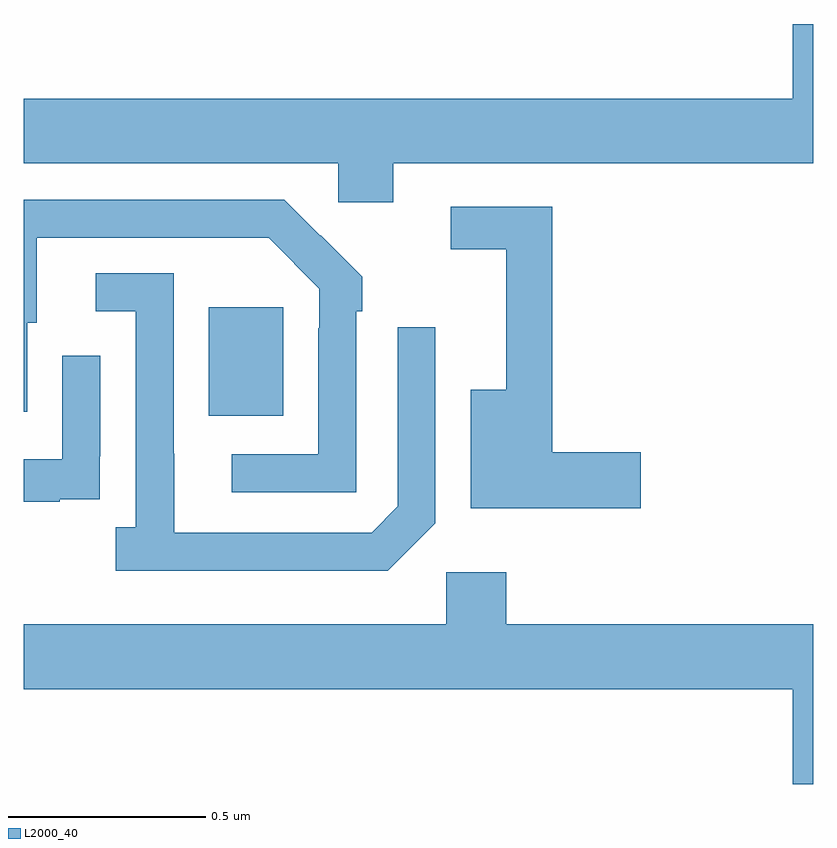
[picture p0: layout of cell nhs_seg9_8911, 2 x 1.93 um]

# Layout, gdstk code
import gdstk
lib = gdstk.Library(unit=1e-6, precision=1e-09)
def R(c, l, rs):  # rectangles x0, y0, x1, y1
    for r in rs: c.add(gdstk.rectangle(r[:2], r[2:], *l))
def P(c, l, *ps):  # polygons
    for p in ps: c.add(gdstk.Polygon(p, *l))
L2000_40 = (2000, 40)

nhs_seg9_8911 = lib.new_cell('nhs_seg9_8911')
R(nhs_seg9_8911, L2000_40, [(223.469,1210.433,223.657,1210.708)])
P(nhs_seg9_8911, L2000_40, [(223.936,1211.072),(225,1211.072),(225,1211.425),(224.948,1211.425),(224.948,1211.236),(223,1211.236),(223,1211.072),(223.797,1211.072),(223.797,1210.974),(223.936,1210.974)],
  [(223.842,1210.697),(223.857,1210.697),(223.857,1210.785),(223.752,1210.89),(223.751,1210.889),(223.66,1210.98),(223,1210.98),(223,1210.443),(223.009,1210.443),(223.009,1210.668),(223.033,1210.668),(223.033,1210.884),(223.621,1210.884),(223.749,1210.755),(223.749,1210.655),(223.746,1210.655),(223.746,1210.335),(223.527,1210.335),(223.527,1210.239),(223.842,1210.239)],
  [(224.563,1210.34),(224.339,1210.34),(224.339,1210.962),(224.082,1210.962),(224.082,1210.854),(224.222,1210.854),(224.222,1210.498),(224.132,1210.498),(224.132,1210.198),(224.563,1210.198)],
  [(224.043,1210.161),(224.043,1210.657),(223.947,1210.657),(223.947,1210.203),(223.881,1210.137),(223.381,1210.137),(223.381,1210.337),(223.38,1210.337),(223.38,1210.794),(223.182,1210.794),(223.182,1210.698),(223.284,1210.698),(223.284,1210.15),(223.233,1210.15),(223.233,1210.04),(223.922,1210.04)],
  [(223.091,1210.221),(223.193,1210.221),(223.193,1210.33),(223.194,1210.33),(223.194,1210.585),(223.098,1210.585),(223.098,1210.323),(223,1210.323),(223,1210.215),(223.091,1210.215)],
  [(225,1209.904),(224.222,1209.904),(224.222,1210.036),(224.07,1210.036),(224.07,1209.904),(223,1209.904),(223,1209.74),(224.948,1209.74),(224.948,1209.5),(225,1209.5)])

lib.write_gds('nhs_seg9_8911.gds')
